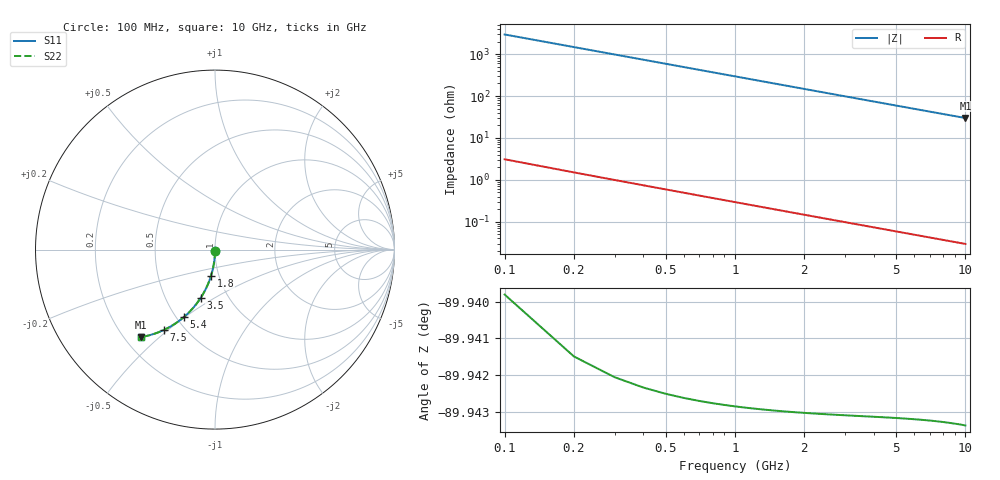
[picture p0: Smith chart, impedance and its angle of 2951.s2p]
# Hz S RI R 50.00
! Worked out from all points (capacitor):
!   100 points, 100 MHz to 10 GHz, reference 50 ohm
!   read as one part in shunt: C = 540 fF near 100 MHz
!   lowest |Z| = 29.9 ohm at 10 GHz (marker M1)
!   S11 on the Smith chart (normalised r, x): 100 MHz: 1.00, -0.02; 1.8 GHz: 0.92, -0.28; 3.5 GHz: 0.74, -0.44; 5.4 GHz: 0.55, -0.49; 7.5 GHz: 0.39, -0.48; 10 GHz: 0.26, -0.44
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1e8  -7.29e-05 -0.00844  0.9999 -0.00853  0.9999 -0.00853  -7.29e-05 -0.00844
2e8  -0.000297 -0.0169  0.9997 -0.017  0.9997 -0.017  -0.000297 -0.0169
3e8  -0.000665 -0.0253  0.9993 -0.0256  0.9993 -0.0256  -0.000665 -0.0253
4e8  -0.00118 -0.0337  0.9988 -0.0341  0.9988 -0.0341  -0.00118 -0.0337
5e8  -0.00183 -0.0421  0.9982 -0.0425  0.9982 -0.0425  -0.00183 -0.0421
6e8  -0.00263 -0.0505  0.9974 -0.051  0.9974 -0.051  -0.00263 -0.0505
8e8  -0.00464 -0.0672  0.9953 -0.0679  0.9953 -0.0679  -0.00464 -0.0672
1.1e9  -0.00871 -0.092  0.9913 -0.0929  0.9913 -0.0929  -0.00871 -0.092
1.4e9  -0.014 -0.1164  0.986 -0.1176  0.986 -0.1176  -0.014 -0.1164
1.8e9  -0.0229 -0.1483  0.9771 -0.1498  0.9771 -0.1498  -0.0229 -0.1483
2.1e9  -0.0308 -0.1715  0.9692 -0.1732  0.9692 -0.1732  -0.0308 -0.1715
2.5e9  -0.043 -0.2014  0.9569 -0.2035  0.9569 -0.2035  -0.043 -0.2014
2.9e9  -0.057 -0.2301  0.943 -0.2326  0.943 -0.2326  -0.057 -0.2301
3.4e9  -0.0766 -0.264  0.9234 -0.2669  0.9234 -0.2669  -0.0766 -0.264
3.5e9  -0.0807 -0.2705  0.9192 -0.2734  0.9192 -0.2734  -0.0807 -0.2705
4.3e9  -0.1168 -0.3188  0.8832 -0.3225  0.8832 -0.3225  -0.1168 -0.3188
5.1e9  -0.1565 -0.3607  0.8435 -0.365  0.8435 -0.365  -0.1565 -0.3607
5.4e9  -0.1721 -0.3746  0.8279 -0.3793  0.8279 -0.3793  -0.1721 -0.3746
6.7e9  -0.2418 -0.4248  0.7582 -0.4305  0.7582 -0.4305  -0.2418 -0.4248
7.5e9  -0.2851 -0.4477  0.7149 -0.4542  0.7149 -0.4542  -0.2851 -0.4477
8.4e9  -0.333 -0.4672  0.6669 -0.4744  0.6669 -0.4744  -0.333 -0.4672
1e10  -0.4137 -0.4876  0.5863 -0.4964  0.5863 -0.4964  -0.4137 -0.4876
